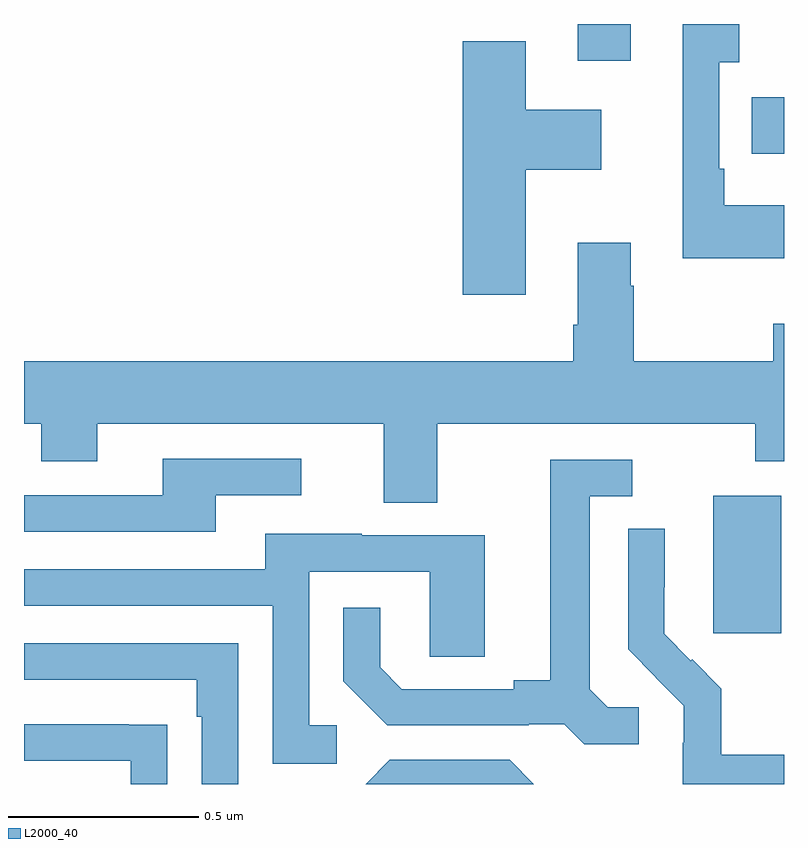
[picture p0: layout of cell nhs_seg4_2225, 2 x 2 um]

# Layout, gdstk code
import gdstk
lib = gdstk.Library(unit=1e-6, precision=1e-09)
def R(c, l, rs):  # rectangles x0, y0, x1, y1
    for r in rs: c.add(gdstk.rectangle(r[:2], r[2:], *l))
def P(c, l, *ps):  # polygons
    for p in ps: c.add(gdstk.Polygon(p, *l))
L2000_40 = (2000, 40)

nhs_seg4_2225 = lib.new_cell('nhs_seg4_2225')
R(nhs_seg4_2225, L2000_40, [(139.814,768.297,139.993,768.658), (139.915,769.559,140,769.707), (139.457,769.803,139.597,769.9)])
P(nhs_seg4_2225, L2000_40, [(140,769.423),(139.843,769.423),(139.843,769.519),(139.83,769.519),(139.83,769.799),(139.882,769.799),(139.882,769.9),(139.733,769.9),(139.733,769.283),(140,769.283)],
  [(139.321,769.517),(139.519,769.517),(139.519,769.675),(139.321,769.675),(139.321,769.855),(139.154,769.855),(139.154,769.188),(139.321,769.188)],
  [(139.087,768.848),(139.924,768.848),(139.924,768.749),(140,768.749),(140,769.111),(139.972,769.111),(139.972,769.012),(139.605,769.012),(139.605,769.211),(139.597,769.211),(139.597,769.324),(139.457,769.324),(139.457,769.108),(139.445,769.108),(139.445,769.012),(138,769.012),(138,768.848),(138.046,768.848),(138.046,768.749),(138.193,768.749),(138.193,768.848),(138.947,768.848),(138.947,768.64),(139.087,768.64)],
  [(138.505,768.66),(138.73,768.66),(138.73,768.756),(138.365,768.756),(138.365,768.66),(138,768.66),(138,768.564),(138.505,768.564)],
  [(139.618,768.102),(139.536,768.102),(139.489,768.149),(139.489,768.657),(139.6,768.657),(139.6,768.753),(139.385,768.753),(139.385,768.173),(139.289,768.173),(139.289,768.15),(138.994,768.15),(138.937,768.207),(138.937,768.364),(138.84,768.364),(138.84,768.17),(138.956,768.054),(139.328,768.054),(139.328,768.057),(139.422,768.057),(139.474,768.005),(139.618,768.005)],
  [(140,767.977),(139.835,767.977),(139.835,768.151),(139.758,768.228),(139.755,768.225),(139.685,768.296),(139.685,768.418),(139.686,768.418),(139.686,768.572),(139.59,768.572),(139.59,768.254),(139.663,768.181),(139.662,768.18),(139.736,768.106),(139.736,768.009),(139.734,768.009),(139.734,767.9),(140,767.9)],
  [(138.823,768.054),(138.75,768.054),(138.75,768.459),(139.068,768.459),(139.068,768.235),(139.213,768.235),(139.213,768.555),(138.889,768.555),(138.889,768.559),(138.635,768.559),(138.635,768.465),(138,768.465),(138,768.369),(138.654,768.369),(138.654,767.953),(138.823,767.953)],
  [(138.564,768.27),(138,768.27),(138,768.174),(138.455,768.174),(138.455,768.077),(138.468,768.077),(138.468,767.9),(138.564,767.9)],
  [(138.377,768.056),(138.275,768.056),(138.275,768.057),(138,768.057),(138,767.961),(138.281,767.961),(138.281,767.9),(138.377,767.9)],
  [(139.278,767.964),(138.963,767.964),(138.899,767.9),(139.342,767.9)])

lib.write_gds('nhs_seg4_2225.gds')
